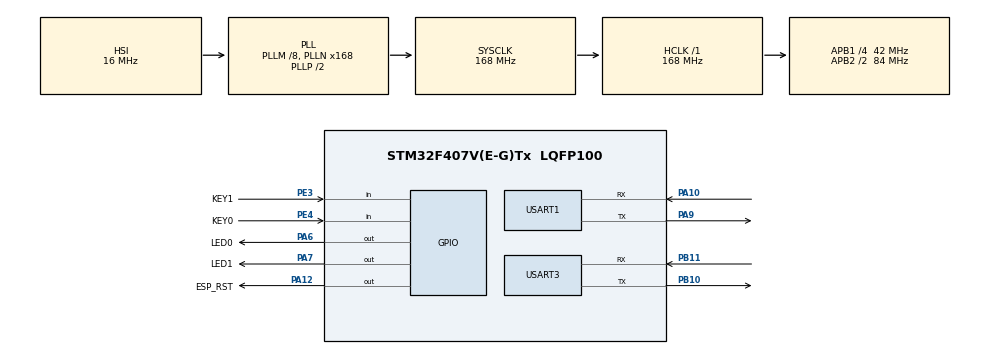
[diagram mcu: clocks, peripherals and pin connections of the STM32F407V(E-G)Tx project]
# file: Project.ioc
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Dma.Request0=USART3_TX
Dma.Request1=USART1_RX
Dma.USART1_RX.1.Direction=DMA_PERIPH_TO_MEMORY
Dma.USART1_RX.1.FIFOMode=DMA_FIFOMODE_DISABLE
Dma.USART1_RX.1.Instance=DMA2_Stream2
Dma.USART1_RX.1.MemDataAlignment=DMA_MDATAALIGN_BYTE
Dma.USART1_RX.1.MemInc=DMA_MINC_ENABLE
Dma.USART1_RX.1.Mode=DMA_NORMAL
Dma.USART1_RX.1.PeriphDataAlignment=DMA_PDATAALIGN_BYTE
Dma.USART1_RX.1.PeriphInc=DMA_PINC_DISABLE
Dma.USART1_RX.1.Priority=DMA_PRIORITY_LOW
Dma.USART3_TX.0.Direction=DMA_MEMORY_TO_PERIPH
Dma.USART3_TX.0.FIFOMode=DMA_FIFOMODE_DISABLE
Dma.USART3_TX.0.Instance=DMA1_Stream3
Dma.USART3_TX.0.MemDataAlignment=DMA_MDATAALIGN_BYTE
Dma.USART3_TX.0.MemInc=DMA_MINC_ENABLE
Dma.USART3_TX.0.Mode=DMA_NORMAL
Dma.USART3_TX.0.PeriphDataAlignment=DMA_PDATAALIGN_BYTE
Dma.USART3_TX.0.PeriphInc=DMA_PINC_DISABLE
Dma.USART3_TX.0.Priority=DMA_PRIORITY_LOW
Mcu.Family=STM32F4
Mcu.Name=STM32F407V(E-G)Tx
Mcu.Package=LQFP100
NVIC.DMA1_Stream3_IRQn=true\:0\:0\:true\:false\:true\:false\:true\:true
NVIC.DMA2_Stream2_IRQn=true\:3\:0\:true\:false\:true\:false\:true\:true
NVIC.PriorityGroup=NVIC_PRIORITYGROUP_4
NVIC.USART1_IRQn=true\:1\:0\:true\:false\:true\:true\:true\:true
NVIC.USART3_IRQn=true\:2\:0\:true\:false\:true\:true\:true\:true
PA10.GPIO_Speed=GPIO_SPEED_FREQ_HIGH
PA10.Mode=Asynchronous
PA10.Signal=USART1_RX
PA12.GPIO_Label=ESP_RST
PA12.PinState=GPIO_PIN_SET
PA12.Signal=GPIO_Output
PA13.Mode=Serial_Wire
PA13.Signal=SYS_JTMS-SWDIO
PA14.Mode=Serial_Wire
PA14.Signal=SYS_JTCK-SWCLK
PA6.GPIO_Label=LED0
PA6.PinState=GPIO_PIN_SET
PA6.Signal=GPIO_Output
PA7.GPIO_Label=LED1
PA7.PinState=GPIO_PIN_SET
PA7.Signal=GPIO_Output
PA9.GPIO_Speed=GPIO_SPEED_FREQ_HIGH
PA9.Mode=Asynchronous
PA9.Signal=USART1_TX
PB10.GPIO_Speed=GPIO_SPEED_FREQ_HIGH
PB10.Mode=Asynchronous
PB10.Signal=USART3_TX
PB11.GPIO_Speed=GPIO_SPEED_FREQ_HIGH
PB11.Mode=Asynchronous
PB11.Signal=USART3_RX
PC14-OSC32_IN.Mode=LSE-External-Oscillator
PC14-OSC32_IN.Signal=RCC_OSC32_IN
PC15-OSC32_OUT.Mode=LSE-External-Oscillator
PC15-OSC32_OUT.Signal=RCC_OSC32_OUT
PE3.GPIO_Label=KEY1
PE3.GPIO_PuPd=GPIO_PULLUP
PE3.Signal=GPIO_Input
PE4.GPIO_Label=KEY0
PE4.GPIO_PuPd=GPIO_PULLUP
PE4.Signal=GPIO_Input
PH0-OSC_IN.Mode=HSE-External-Oscillator
PH0-OSC_IN.Signal=RCC_OSC_IN
PH1-OSC_OUT.Mode=HSE-External-Oscillator
PH1-OSC_OUT.Signal=RCC_OSC_OUT
ProjectManager.HeapSize=0x200
ProjectManager.StackSize=0x400
ProjectManager.TargetToolchain=MDK-ARM V5
RCC.48MHZClocksFreq_Value=84000000
RCC.AHBFreq_Value=168000000
RCC.APB1CLKDivider=RCC_HCLK_DIV4
RCC.APB1Freq_Value=42000000
RCC.APB1TimFreq_Value=84000000
RCC.APB2CLKDivider=RCC_HCLK_DIV2
RCC.APB2Freq_Value=84000000
RCC.APB2TimFreq_Value=168000000
RCC.CortexFreq_Value=168000000
RCC.HCLKFreq_Value=168000000
RCC.HSE_VALUE=8000000
RCC.HSI_VALUE=16000000
RCC.PLLM=8
RCC.PLLN=168
RCC.RCC_RTC_Clock_Source=RCC_RTCCLKSOURCE_LSE
RCC.SYSCLKFreq_VALUE=168000000
RCC.SYSCLKSource=RCC_SYSCLKSOURCE_PLLCLK
RCC.VCOOutputFreq_Value=336000000
RTC.Date=21
RTC.Hours=20
RTC.Minutes=53
RTC.Month=RTC_MONTH_OCTOBER
RTC.WeekDay=RTC_WEEKDAY_TUESDAY
RTC.Year=25
USART1.VirtualMode=VM_ASYNC
USART3.VirtualMode=VM_ASYNC
VP_RTC_VS_RTC_Activate.Mode=RTC_Enabled
VP_RTC_VS_RTC_Calendar.Mode=RTC_Calendar
board=custom

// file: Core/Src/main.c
/* USER CODE BEGIN Header */
/**
 ******************************************************************************
 * @file           : main.c
 * @brief          : Main program body
 ******************************************************************************
 * @attention
 *
 * Copyright (c) 2025 STMicroelectronics.
 * All rights reserved.
 *
 * This software is licensed under terms that can be found in the LICENSE file
 * in the root directory of this software component.
 * If no LICENSE file comes with this software, it is provided AS-IS.
 *
 ******************************************************************************
 */
/* USER CODE END Header */
#include "main.h"
#include "dma.h"
#include "rtc.h"
#include "usart.h"
#include "gpio.h"

/* USER CODE BEGIN Includes */
#include "string.h"
#include "esp8266.h"
#include "weather.h"
#include <stdio.h>
/* USER CODE END Includes */

/* USER CODE BEGIN PV */
/* Buffers used for displaying Time and Date */
uint8_t aShowTime[50] = {0};
uint8_t aShowDate[50] = {0};
/* USER CODE END PV */

void SystemClock_Config(void);
/* USER CODE BEGIN PFP */
static void RTC_CalendarShow(uint8_t *showtime, uint8_t *showdate);
/* USER CODE END PFP */

int main(void)
{

  /* MCU Configuration--------------------------------------------------------*/

  /* Reset of all peripherals, Initializes the Flash interface and the Systick. */
  HAL_Init();

  /* Configure the system clock */
  SystemClock_Config();

  /* Initialize all configured peripherals */
  MX_GPIO_Init();
  MX_DMA_Init();
  MX_USART1_UART_Init();
  MX_USART3_UART_Init();
  MX_RTC_Init();
  /* USER CODE BEGIN 2 */

	/* 启动DMA接收 */
	HAL_UART_Receive_DMA(&huart1, rxBuffer, RX_BUFFER_SIZE);

	uint8_t status = ESP8266_Init();
	if (status == 1)
	{
		ESP8266_GetResponse();
	}

  /* USER CODE END 2 */

  /* Infinite loop */
  /* USER CODE BEGIN WHILE */
	while (1)
	{
    /* 打印出日期和时间 */
    RTC_CalendarShow(aShowDate, aShowTime);
    HAL_Delay(1000);

    /* USER CODE END WHILE */

	}
}

void SystemClock_Config(void)
{
  RCC_OscInitTypeDef RCC_OscInitStruct = {0};
  RCC_ClkInitTypeDef RCC_ClkInitStruct = {0};

  /** Configure the main internal regulator output voltage
  */
  __HAL_RCC_PWR_CLK_ENABLE();
  __HAL_PWR_VOLTAGESCALING_CONFIG(PWR_REGULATOR_VOLTAGE_SCALE1);

  /** Initializes the RCC Oscillators according to the specified parameters
  * in the RCC_OscInitTypeDef structure.
  */
  RCC_OscInitStruct.OscillatorType = RCC_OSCILLATORTYPE_HSI|RCC_OSCILLATORTYPE_LSE;
  RCC_OscInitStruct.LSEState = RCC_LSE_ON;
  RCC_OscInitStruct.HSIState = RCC_HSI_ON;
  RCC_OscInitStruct.HSICalibrationValue = RCC_HSICALIBRATION_DEFAULT;
  RCC_OscInitStruct.PLL.PLLState = RCC_PLL_ON;
  RCC_OscInitStruct.PLL.PLLSource = RCC_PLLSOURCE_HSI;
  RCC_OscInitStruct.PLL.PLLM = 8;
  RCC_OscInitStruct.PLL.PLLN = 168;
  RCC_OscInitStruct.PLL.PLLP = RCC_PLLP_DIV2;
  RCC_OscInitStruct.PLL.PLLQ = 4;
  if (HAL_RCC_OscConfig(&RCC_OscInitStruct) != HAL_OK)
  {
    Error_Handler();
  }

  /** Initializes the CPU, AHB and APB buses clocks
  */
  RCC_ClkInitStruct.ClockType = RCC_CLOCKTYPE_HCLK|RCC_CLOCKTYPE_SYSCLK
                              |RCC_CLOCKTYPE_PCLK1|RCC_CLOCKTYPE_PCLK2;
  RCC_ClkInitStruct.SYSCLKSource = RCC_SYSCLKSOURCE_PLLCLK;
  RCC_ClkInitStruct.AHBCLKDivider = RCC_SYSCLK_DIV1;
  RCC_ClkInitStruct.APB1CLKDivider = RCC_HCLK_DIV4;
  RCC_ClkInitStruct.APB2CLKDivider = RCC_HCLK_DIV2;

  if (HAL_RCC_ClockConfig(&RCC_ClkInitStruct, FLASH_LATENCY_5) != HAL_OK)
  {
    Error_Handler();
  }
}

/* USER CODE BEGIN 4 */
static void RTC_CalendarShow(uint8_t *showtime, uint8_t *showdate)
{
  RTC_DateTypeDef sdatestructureget;
  RTC_TimeTypeDef stimestructureget;

  /* Get the RTC current Time */
  HAL_RTC_GetTime(&hrtc, &stimestructureget, RTC_FORMAT_BIN);
  /* Get the RTC current Date */
  HAL_RTC_GetDate(&hrtc, &sdatestructureget, RTC_FORMAT_BIN);
  /* Display time Format : hh:mm:ss */
  sprintf((char *)showtime, "%2d:%2d:%2d\r\n", stimestructureget.Hours, stimestructureget.Minutes, stimestructureget.Seconds);
  HAL_UART_Transmit(&huart3, (uint8_t*)showtime, strlen((char*)showtime), 1000);
	/* Display date Format : mm-dd-yy */

  sprintf((char *)showdate, "%2d-%2d-%2d\r\n", sdatestructureget.Month, sdatestructureget.Date, 2000 + sdatestructureget.Year);
	HAL_UART_Transmit(&huart3, (uint8_t*)showdate, strlen((char*)showdate), 500);
}
/* USER CODE END 4 */

void Error_Handler(void)
{
	__disable_irq();
	while (1)
	{
	}
}
